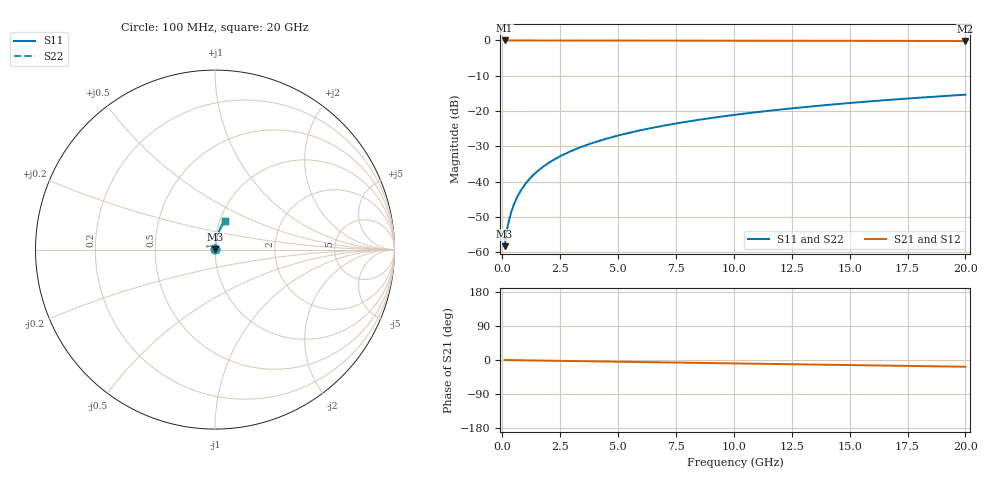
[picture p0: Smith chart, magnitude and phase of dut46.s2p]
! Touchstone file exported from HFSS 2026.1.0
!  File:  C:/ffzhzh/LocalFiles/Ansys_Project_Files/temp_train_BSMRDL_46_1782882445_8056.aedt
!  Generated:  01:08:41 PM Jul  1, 2026
!  Design:  BSMRDL
!  Project:  temp_train_BSMRDL_46_1782882445_8056
! Variables:
!  h_bsmrdl = 5.46um
!  h_ox = 20um
!  h_rdl = 5um
!  h_sub = 80um
!  h_tmrdl = 5um
!  h_tsv = 80um
!  h_via = 3um
!  l_bsmrdl = 225.02um
!  l_sub = 625.02um
!  l_tmrdl = 200um
!  m_sub = 200um
!  pitch = 55.82um
!  r_tsv = 6um
!  s_tmrdl = 10um
!  w_bsmrdl = 26.55um
!  w_sub = 500um
!  w_tmrdl = 12um
!  x_tsv_center1 = 206um
!  x_tsv_center2 = 457.57um
!  x_tsv_center3 = 669.57um
!  x_tsv_center4 = 921.14um
!  x_tsv_center5 = 1133.14um
!  x_tsv_center6 = 1384.71um
# GHz S MA R 50.000000
! Terminal data exported
! Port[1] = BSM_RDL1_1_T1
! Port[2] = BSM_RDL1_1_T2
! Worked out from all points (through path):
!   200 points, 100 MHz to 20 GHz, reference 50 ohm
!   highest |S21| = -0.01 dB at 100 MHz (marker M1); lowest = -0.2 dB at 20 GHz (marker M2)
!   group delay of S21, straight-line fit = 2.46 ps
!   lowest |S11| = -58.2 dB at 100 MHz (marker M3), VSWR 1.00, Z = 50.1 + j0.0996 ohm
!   |S11| at or under -10 dB: start of sweep to end of sweep
!   |S22| runs from -58.2 to -15.4 dB; largest |S21 - S12| = 2.2e-15
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0.1  0.001225 54.3  0.9993 -0.1  0.9993 -0.1  0.001225 54.3
! Gamma 0 0 0 0
! Port Impedance 50 0 50 0
0.2  0.002069 68.2  0.9992 -0.2  0.9992 -0.2  0.002069 68.2
0.3  0.002947 74.2  0.9992 -0.3  0.9992 -0.3  0.002947 74.2
0.4  0.003843 77.5  0.9991 -0.4  0.9991 -0.4  0.003843 77.5
0.5  0.004749 79.6  0.9991 -0.5  0.9991 -0.5  0.004749 79.6
0.7  0.006576 81.9  0.9991 -0.7  0.9991 -0.7  0.006576 81.9
0.8  0.007493 82.6  0.9991 -0.7  0.9991 -0.7  0.007493 82.6
1  0.009328 83.5  0.999 -0.9  0.999 -0.9  0.009328 83.5
1.2  0.01116 84.0  0.9989 -1.1  0.9989 -1.1  0.01116 84.0
1.4  0.01299 84.3  0.9989 -1.3  0.9989 -1.3  0.01299 84.3
1.7  0.01573 84.5  0.9988 -1.6  0.9988 -1.6  0.01573 84.5
2  0.01845 84.5  0.9986 -1.8  0.9986 -1.8  0.01845 84.5
2.7  0.02476 84.3  0.9983 -2.5  0.9983 -2.5  0.02476 84.3
3.5  0.03188 83.9  0.9979 -3.2  0.9979 -3.2  0.03188 83.9
4.2  0.03806 83.4  0.9974 -3.8  0.9974 -3.8  0.03806 83.4
5  0.04507 82.8  0.9969 -4.6  0.9969 -4.6  0.04507 82.8
6.8  0.06072 81.5  0.9957 -6.2  0.9957 -6.2  0.06072 81.5
8.3  0.07365 80.4  0.9945 -7.5  0.9945 -7.5  0.07365 80.4
10.1  0.08903 78.9  0.993 -9.1  0.993 -9.1  0.08903 78.9
13.4  0.1168 76.3  0.9896 -12.0  0.9896 -12.0  0.1168 76.3
16.7  0.1441 73.5  0.9857 -14.9  0.9857 -14.9  0.1441 73.5
20  0.1706 70.8  0.9811 -17.8  0.9811 -17.8  0.1706 70.8
